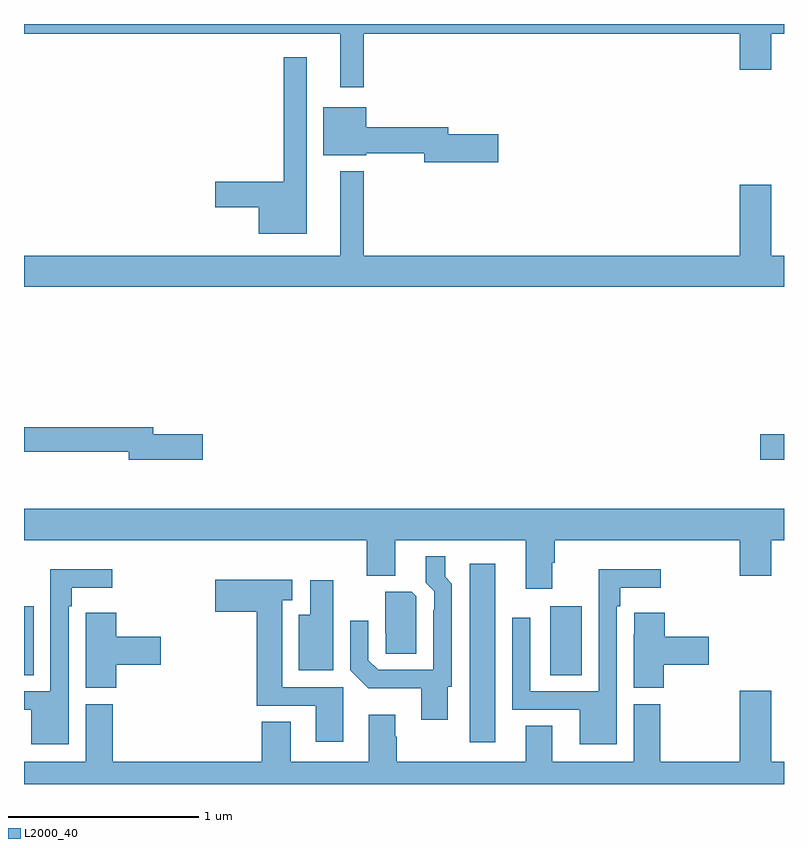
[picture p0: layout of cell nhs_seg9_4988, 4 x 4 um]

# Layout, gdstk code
import gdstk
lib = gdstk.Library(unit=1e-6, precision=1e-09)
def R(c, l, rs):  # rectangles x0, y0, x1, y1
    for r in rs: c.add(gdstk.rectangle(r[:2], r[2:], *l))
def P(c, l, *ps):  # polygons
    for p in ps: c.add(gdstk.Polygon(p, *l))
L2000_40 = (2000, 40)

nhs_seg9_4988 = lib.new_cell('nhs_seg9_4988')
R(nhs_seg9_4988, L2000_40, [(403.346,1164.72,403.48,1165.66), (401,1165.072,401.05,1165.435), (403.769,1165.072,403.936,1165.435), (404.874,1166.207,405,1166.342)])
P(nhs_seg9_4988, L2000_40, [(404.768,1168.26),(404.932,1168.26),(404.932,1168.448),(405,1168.448),(405,1168.5),(401,1168.5),(401,1168.448),(402.665,1168.448),(402.665,1168.167),(402.787,1168.167),(402.787,1168.448),(404.768,1168.448)],
  [(402.487,1168.324),(402.366,1168.324),(402.366,1167.671),(402.006,1167.671),(402.006,1167.536),(402.236,1167.536),(402.236,1167.395),(402.487,1167.395)],
  [(403.495,1167.92),(403.234,1167.92),(403.234,1167.956),(402.802,1167.956),(402.802,1168.063),(402.575,1168.063),(402.575,1167.809),(402.802,1167.809),(402.802,1167.82),(403.106,1167.82),(403.106,1167.773),(403.495,1167.773)],
  [(405,1167.28),(404.932,1167.28),(404.932,1167.655),(404.768,1167.655),(404.768,1167.28),(402.787,1167.28),(402.787,1167.724),(402.665,1167.724),(402.665,1167.28),(401,1167.28),(401,1167.116),(405,1167.116)],
  [(401.941,1166.342),(401.68,1166.342),(401.68,1166.378),(401,1166.378),(401,1166.25),(401.552,1166.25),(401.552,1166.207),(401.941,1166.207)],
  [(403.78,1165.664),(403.793,1165.664),(403.793,1165.784),(404.768,1165.784),(404.768,1165.596),(404.932,1165.596),(404.932,1165.784),(405,1165.784),(405,1165.948),(401,1165.948),(401,1165.784),(402.803,1165.784),(402.803,1165.597),(402.955,1165.597),(402.955,1165.784),(403.64,1165.784),(403.64,1165.527),(403.78,1165.527)],
  [(403.231,1165.011),(403.251,1165.011),(403.251,1165.555),(403.216,1165.59),(403.216,1165.699),(403.115,1165.699),(403.115,1165.558),(403.158,1165.515),(403.158,1165.415),(403.155,1165.415),(403.155,1165.101),(402.864,1165.101),(402.813,1165.152),(402.813,1165.36),(402.717,1165.36),(402.717,1165.098),(402.811,1165.004),(403.091,1165.004),(403.091,1164.837),(403.231,1164.837)],
  [(404.121,1165.436),(404.137,1165.436),(404.137,1165.532),(404.35,1165.532),(404.35,1165.63),(404.025,1165.63),(404.025,1164.987),(403.665,1164.987),(403.665,1165.375),(403.569,1165.375),(403.569,1164.891),(403.925,1164.891),(403.925,1164.71),(404.121,1164.71)],
  [(401.235,1165.436),(401.251,1165.436),(401.251,1165.532),(401.464,1165.532),(401.464,1165.63),(401.139,1165.63),(401.139,1164.987),(401,1164.987),(401,1164.891),(401.039,1164.891),(401.039,1164.71),(401.235,1164.71)],
  [(402.679,1165.008),(402.358,1165.008),(402.358,1165.467),(402.412,1165.467),(402.412,1165.575),(402.006,1165.575),(402.006,1165.406),(402.224,1165.406),(402.224,1164.912),(402.536,1164.912),(402.536,1164.723),(402.679,1164.723)],
  [(402.628,1165.573),(402.506,1165.573),(402.506,1165.39),(402.446,1165.39),(402.446,1165.1),(402.628,1165.1)],
  [(403.065,1165.488),(403.041,1165.512),(402.902,1165.512),(402.902,1165.297),(402.903,1165.297),(402.903,1165.186),(403.065,1165.186)],
  [(401.486,1165.127),(401.719,1165.127),(401.719,1165.274),(401.486,1165.274),(401.486,1165.402),(401.325,1165.402),(401.325,1165.289),(401.324,1165.289),(401.324,1165.006),(401.486,1165.006)],
  [(404.367,1165.127),(404.605,1165.127),(404.605,1165.274),(404.372,1165.274),(404.372,1165.402),(404.211,1165.402),(404.211,1165.289),(404.21,1165.289),(404.21,1165.006),(404.367,1165.006)],
  [(404.768,1164.991),(404.768,1164.616),(404.349,1164.616),(404.349,1164.921),(404.21,1164.921),(404.21,1164.616),(403.78,1164.616),(403.78,1164.806),(403.64,1164.806),(403.64,1164.616),(402.963,1164.616),(402.963,1164.749),(402.955,1164.749),(402.955,1164.865),(402.815,1164.865),(402.815,1164.616),(402.403,1164.616),(402.403,1164.827),(402.251,1164.827),(402.251,1164.616),(401.468,1164.616),(401.468,1164.921),(401.324,1164.921),(401.324,1164.616),(401,1164.616),(401,1164.5),(405,1164.5),(405,1164.616),(404.932,1164.616),(404.932,1164.991)])

lib.write_gds('nhs_seg9_4988.gds')
